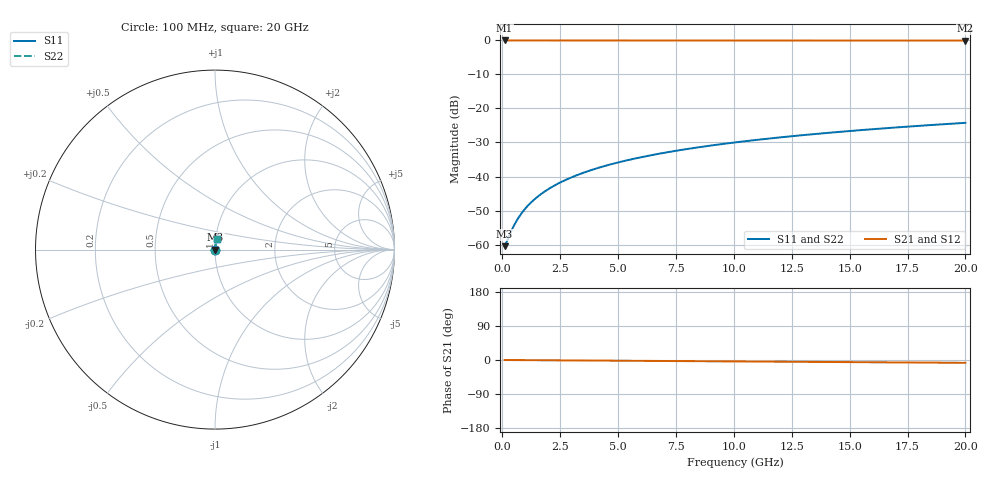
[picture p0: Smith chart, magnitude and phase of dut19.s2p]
! Touchstone file exported from HFSS 2026.1.0
!  File:  C:/ffzhzh/LocalFiles/Ansys_Project_Files/temp_val_TSV_19_1782975111_45568.aedt
!  Generated:  02:54:50 PM Jul  2, 2026
!  Design:  TSV
!  Project:  temp_val_TSV_19_1782975111_45568
! Variables:
!  h_bsmrdl = 2um
!  h_ox = 20um
!  h_rdl = 5um
!  h_sub = 66.39um
!  h_tmrdl = 5um
!  h_tsv = 66.39um
!  h_via = 3um
!  l_bsmrdl = 300um
!  l_sub = 405.96um
!  l_tmrdl = 200um
!  m_sub = 200um
!  pitch = 26.75um
!  r_tsv = 2.98um
!  s_tmrdl = 10um
!  w_bsmrdl = 18um
!  w_sub = 500um
!  w_tmrdl = 12um
!  x_tsv_center1 = 206um
!  x_tsv_center2 = 524um
!  x_tsv_center3 = 736um
!  x_tsv_center4 = 1054um
!  x_tsv_center5 = 1266um
!  x_tsv_center6 = 1584um
# GHz S MA R 50.000000
! Terminal data exported
! Port[1] = TSV1_1_T1
! Port[2] = TSV1_1_T2
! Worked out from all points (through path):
!   200 points, 100 MHz to 20 GHz, reference 50 ohm
!   highest |S21| = -0.01 dB at 100 MHz (marker M1); lowest = 0.0 dB at 20 GHz (marker M2)
!   group delay of S21, straight-line fit = 1.03 ps
!   lowest |S11| = -60.5 dB at 100 MHz (marker M3), VSWR 1.00, Z = 50.1 + j0.0337 ohm
!   |S11| at or under -10 dB: start of sweep to end of sweep
!   |S22| runs from -60.5 to -24.2 dB; largest |S21 - S12| = 6.7e-15
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0.1  0.0009467 20.8  0.9991 -0.0  0.9991 -0.0  0.0009467 20.8
! Gamma 0 0 0 0
! Port Impedance 50 0 50 0
0.2  0.001117 36.9  0.9991 -0.1  0.9991 -0.1  0.001117 36.9
0.4  0.00161 55.4  0.9991 -0.2  0.9991 -0.2  0.00161 55.4
0.5  0.00189 60.7  0.9991 -0.2  0.9991 -0.2  0.00189 60.7
0.7  0.002479 67.6  0.9991 -0.3  0.9991 -0.3  0.002479 67.6
0.8  0.002782 70.0  0.9991 -0.3  0.9991 -0.3  0.002782 70.0
1  0.003399 73.4  0.999 -0.4  0.999 -0.4  0.003399 73.4
1.3  0.004339 76.6  0.999 -0.5  0.999 -0.5  0.004339 76.6
1.7  0.005606 79.2  0.999 -0.6  0.999 -0.6  0.005606 79.2
2.2  0.0072 81.0  0.9989 -0.8  0.9989 -0.8  0.0072 81.0
2.8  0.009116 82.2  0.9989 -1.1  0.9989 -1.1  0.009116 82.2
3.5  0.01135 82.9  0.9988 -1.3  0.9988 -1.3  0.01135 82.9
4.2  0.01357 83.2  0.9987 -1.6  0.9987 -1.6  0.01357 83.2
5  0.01609 83.4  0.9986 -1.9  0.9986 -1.9  0.01609 83.4
5.9  0.01892 83.4  0.9984 -2.2  0.9984 -2.2  0.01892 83.4
6.8  0.02172 83.3  0.9982 -2.6  0.9982 -2.6  0.02172 83.3
8.3  0.02635 83.0  0.9979 -3.1  0.9979 -3.1  0.02635 83.0
10.1  0.03185 82.6  0.9975 -3.8  0.9975 -3.8  0.03185 82.6
11.7  0.0367 82.2  0.9972 -4.4  0.9972 -4.4  0.0367 82.2
13.4  0.04183 81.8  0.9968 -5.0  0.9968 -5.0  0.04183 81.8
16.7  0.05171 80.8  0.996 -6.2  0.996 -6.2  0.05171 80.8
20  0.06152 79.9  0.9952 -7.4  0.9952 -7.4  0.06152 79.9
